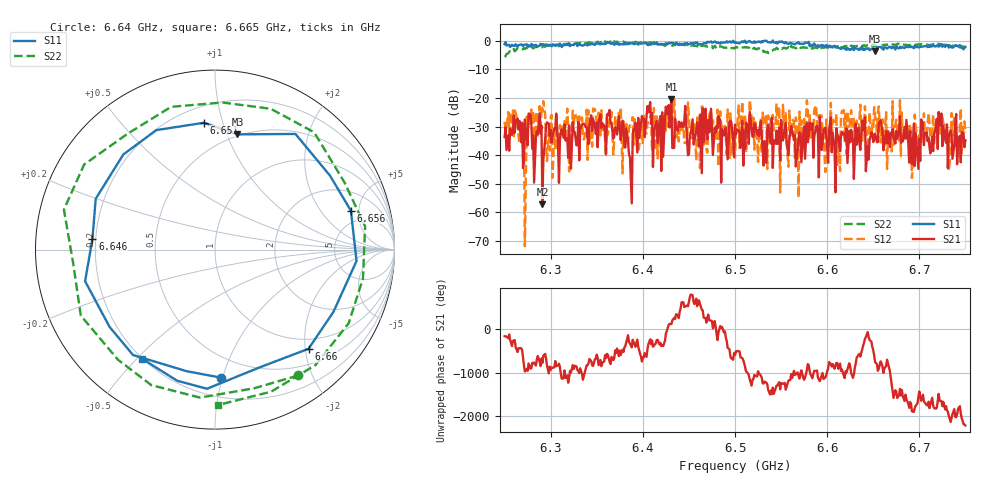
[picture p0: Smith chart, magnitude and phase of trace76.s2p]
# Hz S RI R 50
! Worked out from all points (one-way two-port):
!   401 points, 6.25 GHz to 6.75 GHz, reference 50 ohm
!   highest |S21| = -20.32 dB at 6.431 GHz (marker M1); lowest = -57.2 dB at 6.291 GHz (marker M2)
!   lowest |S11| = -3.7 dB at 6.652 GHz (marker M3), VSWR 4.78, Z = 24.3 + j54.5 ohm
!   |S11| at or under -10 dB: nowhere
!   |S22| runs from -5.6 to -0.1 dB; largest |S21 - S12| = 0.14
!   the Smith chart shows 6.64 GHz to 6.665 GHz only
!   S11 on the Smith chart (normalised r, x): 6.64 GHz: 0.34, -0.99; 6.646 GHz: 0.19, +0.04; 6.651 GHz: 0.31, +0.87; 6.656 GHz: 3.58, +4.09; 6.66 GHz: 0.79, -2.07; 6.665 GHz: 0.20, -0.52
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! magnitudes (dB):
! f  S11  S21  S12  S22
! 6.25 GHz  -1.1  -33.7  -28.3  -5.6
! 6.261 GHz  -1.7  -32.2  -24.4  -3.6
! 6.27 GHz  -1.8  -44.6  -31.5  -2.9
! 6.276 GHz  -1.5  -25.4  -29.1  -2.7
! 6.291 GHz  -1.3  -57.2  -24.8  -2.2
! 6.305 GHz  -1.7  -31.0  -38.2  -1.4
! 6.334 GHz  -1.6  -29.3  -26.8  -0.9
! 6.386 GHz  -1.0  -40.8  -29.6  -0.7
! 6.406 GHz  -1.5  -25.0  -28.7  -0.7
! 6.418 GHz  -1.1  -28.1  -29.5  -1.0
! 6.431 GHz  -0.7  -20.3  -29.7  -1.1
! 6.5 GHz  -0.4  -29.3  -41.0  -2.5
! 6.584 GHz  -1.9  -28.8  -29.2  -2.6
! 6.64 GHz  -2.9  -31.4  -31.8  -1.5
! 6.646 GHz  -3.3  -34.9  -25.1  -1.6
! 6.651 GHz  -3.0  -34.3  -23.2  -1.8
! 6.652 GHz  -3.7  -32.5  -26.4  -1.6
! 6.656 GHz  -2.1  -28.8  -23.0  -1.4
! 6.66 GHz  -2.4  -31.6  -27.5  -1.5
! 6.665 GHz  -2.7  -35.9  -44.9  -1.3
! 6.668 GHz  -2.1  -37.2  -32.1  -1.3
! 6.75 GHz  -2.1  -34.8  -32.3  -2.3
